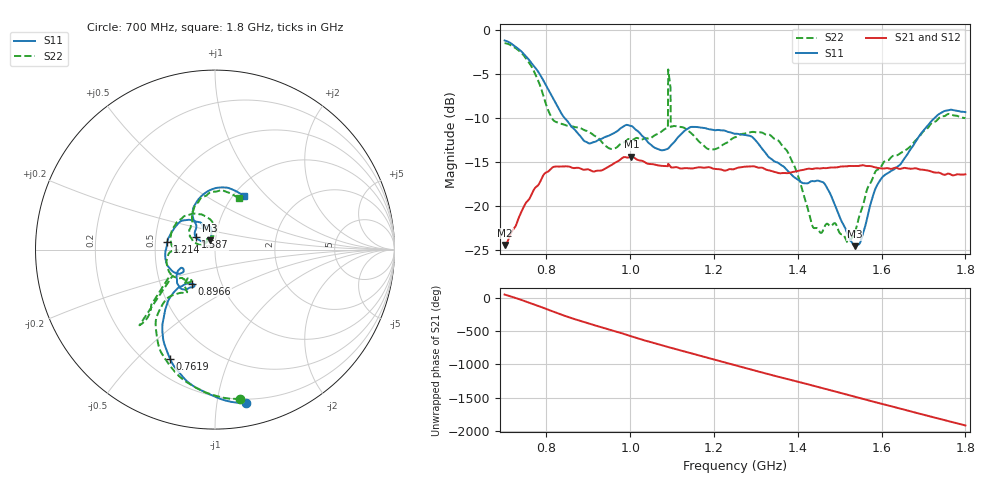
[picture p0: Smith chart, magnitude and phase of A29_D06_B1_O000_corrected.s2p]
! Created with skrf 1.9.0 (http://scikit-rf.org).
# Hz S RI R 50.0
!freq ReS11 ImS11 ReS21 ImS21 ReS12 ImS12 ReS22 ImS22
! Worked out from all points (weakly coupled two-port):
!   1601 points, 700 MHz to 1.8 GHz, reference 50 ohm
!   highest |S21| = -14.42 dB at 1.002 GHz (marker M1); lowest = -24.5 dB at 701.4 MHz (marker M2)
!   lowest |S11| = -24.6 dB at 1.536 GHz (marker M3), VSWR 1.13, Z = 47 + j4.9 ohm
!   |S11| at or under -10 dB: 842.9 MHz to 1.727 GHz (883.8 MHz wide, 68.8 % of centre)
!   |S22| runs from -24.2 to -1.5 dB; largest |S21 - S12| = 0.0035
!   S11 on the Smith chart (normalised r, x): 700 MHz: 0.17, -1.21; 761.9 MHz: 0.29, -0.63; 896.6 MHz: 0.72, -0.29; 1.214 GHz: 0.58, +0.05; 1.587 GHz: 0.80, +0.11; 1.8 GHz: 1.11, +0.76
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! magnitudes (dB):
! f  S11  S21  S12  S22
! 700 MHz  -1.2  -24.4  -24.2  -1.5
! 701.4 MHz  -1.2  -24.5  -24.1  -1.5
! 761.9 MHz  -3.6  -19.0  -18.9  -4.0
! 815.5 MHz  -7.8  -15.6  -15.7  -10.2
! 883.6 MHz  -12.2  -15.8  -15.7  -11.2
! 896.6 MHz  -12.8  -15.9  -15.9  -11.5
! 1.002 GHz  -10.9  -14.4  -14.5  -12.5
! 1.067 GHz  -13.6  -15.4  -15.4  -11.8
! 1.084 GHz  -13.6  -15.5  -15.5  -11.2
! 1.096 GHz  -13.2  -15.5  -15.6  -6.6
! 1.102 GHz  -12.9  -15.6  -15.6  -10.9
! 1.214 GHz  -11.4  -15.9  -15.8  -13.3
! 1.25 GHz  -11.8  -15.8  -15.7  -12.2
! 1.356 GHz  -15.2  -16.3  -16.2  -12.7
! 1.394 GHz  -16.9  -16.1  -16.1  -15.8
! 1.434 GHz  -17.2  -15.8  -15.8  -22.1
! 1.466 GHz  -17.6  -15.7  -15.7  -22.2
! 1.536 GHz  -24.6  -15.5  -15.5  -23.1
! 1.587 GHz  -17.9  -15.7  -15.7  -16.0
! 1.617 GHz  -16.2  -15.8  -15.7  -14.8
! 1.734 GHz  -9.7  -16.2  -16.3  -10.2
! 1.8 GHz  -9.3  -16.4  -16.4  -10.0
